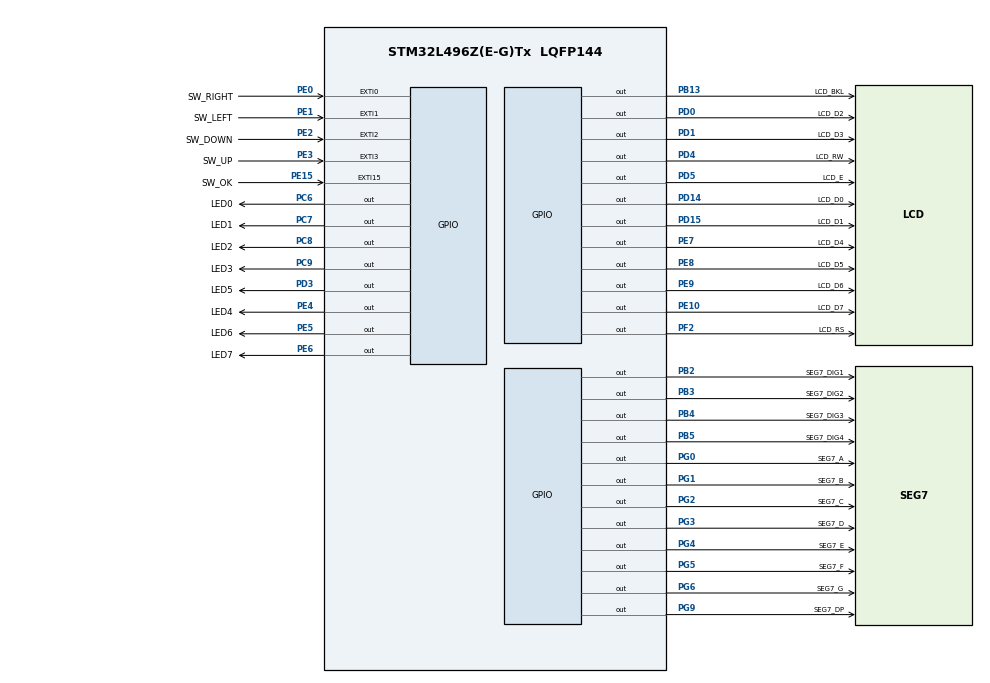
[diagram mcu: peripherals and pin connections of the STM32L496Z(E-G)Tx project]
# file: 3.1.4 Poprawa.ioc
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Mcu.Family=STM32L4
Mcu.Name=STM32L496Z(E-G)Tx
Mcu.Package=LQFP144
NVIC.EXTI0_IRQn=true\:0\:0\:false\:false\:true\:true\:true
NVIC.EXTI15_10_IRQn=true\:0\:0\:false\:false\:true\:true\:true
NVIC.EXTI1_IRQn=true\:0\:0\:false\:false\:true\:true\:true
NVIC.EXTI2_IRQn=true\:0\:0\:false\:false\:true\:true\:true
NVIC.EXTI3_IRQn=true\:0\:0\:false\:false\:true\:true\:true
NVIC.PriorityGroup=NVIC_PRIORITYGROUP_4
PA13\ (JTMS/SWDIO).Mode=Serial_Wire
PA13\ (JTMS/SWDIO).Signal=SYS_JTMS-SWDIO
PA14\ (JTCK/SWCLK).Mode=Serial_Wire
PA14\ (JTCK/SWCLK).Signal=SYS_JTCK-SWCLK
PB13.GPIO_Label=LCD_BKL
PB13.Signal=GPIO_Output
PB2.GPIO_Label=SEG7_DIG1
PB2.Signal=GPIO_Output
PB3\ (JTDO/TRACESWO).GPIO_Label=SEG7_DIG2
PB3\ (JTDO/TRACESWO).Signal=GPIO_Output
PB4\ (NJTRST).GPIO_Label=SEG7_DIG3
PB4\ (NJTRST).Signal=GPIO_Output
PB5.GPIO_Label=SEG7_DIG4
PB5.Signal=GPIO_Output
PC6.GPIO_Label=LED0
PC6.Signal=GPIO_Output
PC7.GPIO_Label=LED1
PC7.Signal=GPIO_Output
PC8.GPIO_Label=LED2
PC8.Signal=GPIO_Output
PC9.GPIO_Label=LED3
PC9.Signal=GPIO_Output
PD0.GPIO_Label=LCD_D2
PD0.Signal=GPIO_Output
PD1.GPIO_Label=LCD_D3
PD1.Signal=GPIO_Output
PD14.GPIO_Label=LCD_D0
PD14.Signal=GPIO_Output
PD15.GPIO_Label=LCD_D1
PD15.Signal=GPIO_Output
PD3.GPIO_Label=LED5
PD3.Signal=GPIO_Output
PD4.GPIO_Label=LCD_RW
PD4.Signal=GPIO_Output
PD5.GPIO_Label=LCD_E
PD5.Signal=GPIO_Output
PE0.GPIO_Label=SW_RIGHT
PE0.GPIO_ModeDefaultEXTI=GPIO_MODE_IT_FALLING
PE0.Signal=GPXTI0
PE1.GPIO_Label=SW_LEFT
PE1.GPIO_ModeDefaultEXTI=GPIO_MODE_IT_FALLING
PE1.Signal=GPXTI1
PE10.GPIO_Label=LCD_D7
PE10.Signal=GPIO_Output
PE15.GPIO_Label=SW_OK
PE15.GPIO_ModeDefaultEXTI=GPIO_MODE_IT_FALLING
PE15.Signal=GPXTI15
PE2.GPIO_Label=SW_DOWN
PE2.GPIO_ModeDefaultEXTI=GPIO_MODE_IT_FALLING
PE2.Signal=GPXTI2
PE3.GPIO_Label=SW_UP
PE3.GPIO_ModeDefaultEXTI=GPIO_MODE_IT_FALLING
PE3.Signal=GPXTI3
PE4.GPIO_Label=LED4
PE4.Signal=GPIO_Output
PE5.GPIO_Label=LED6
PE5.Signal=GPIO_Output
PE6.GPIO_Label=LED7
PE6.Signal=GPIO_Output
PE7.GPIO_Label=LCD_D4
PE7.Signal=GPIO_Output
PE8.GPIO_Label=LCD_D5
PE8.Signal=GPIO_Output
PE9.GPIO_Label=LCD_D6
PE9.Signal=GPIO_Output
PF2.GPIO_Label=LCD_RS
PF2.Signal=GPIO_Output
PG0.GPIO_Label=SEG7_A
PG0.Signal=GPIO_Output
PG1.GPIO_Label=SEG7_B
PG1.Signal=GPIO_Output
PG2.GPIO_Label=SEG7_C
PG2.Signal=GPIO_Output
PG3.GPIO_Label=SEG7_D
PG3.Signal=GPIO_Output
PG4.GPIO_Label=SEG7_E
PG4.Signal=GPIO_Output
PG5.GPIO_Label=SEG7_F
PG5.Signal=GPIO_Output
PG6.GPIO_Label=SEG7_G
PG6.Signal=GPIO_Output
PG9.GPIO_Label=SEG7_DP
PG9.Signal=GPIO_Output
ProjectManager.HeapSize=0x200
ProjectManager.StackSize=0x400
ProjectManager.TargetToolchain=STM32CubeIDE
RCC.HSE_VALUE=8000000
RCC.HSI48_VALUE=48000000
RCC.HSI_VALUE=16000000
RCC.LSE_VALUE=32768
RCC.MSI_VALUE=4000000
RCC.VCOOutputFreq_Value=32000000
board=custom

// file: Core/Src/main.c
/* USER CODE BEGIN Header */
/**
 ******************************************************************************
 * @file           : main.c
 * @brief          : Main program body
 ******************************************************************************
 * @attention
 *
 * <h2><center>&copy; Copyright (c) 2021 STMicroelectronics.
 * All rights reserved.</center></h2>
 *
 * This software component is licensed by ST under BSD 3-Clause license,
 * the "License"; You may not use this file except in compliance with the
 * License. You may obtain a copy of the License at:
 *                        opensource.org/licenses/BSD-3-Clause
 *
 ******************************************************************************
 */
/* USER CODE END Header */
#include "main.h"
#include "gpio.h"

/* USER CODE BEGIN Includes */
#include "lcd.h"
#include <stdio.h>
#include <string.h>
/* USER CODE END Includes */

/* USER CODE BEGIN PD */
#define SEG7_Msk       (SEG7_A_Pin|SEG7_B_Pin|SEG7_C_Pin|SEG7_D_Pin|SEG7_E_Pin|SEG7_F_Pin|SEG7_G_Pin|SEG7_DP_Pin)

#define SEG7_MOD_Msk   (SEG7_DIG4_Pin|SEG7_DIG3_Pin|SEG7_DIG2_Pin|SEG7_DIG1_Pin)

/* USER CODE END PD */

/* USER CODE BEGIN PV */
const uint8_t SEG_Bin2Dec[]=
{
		SEG7_A_Pin |SEG7_B_Pin |SEG7_C_Pin |SEG7_D_Pin |SEG7_E_Pin |SEG7_F_Pin,
		SEG7_B_Pin |SEG7_C_Pin , //1
		SEG7_A_Pin |SEG7_B_Pin |SEG7_D_Pin |SEG7_E_Pin |SEG7_G_Pin, //2
		SEG7_A_Pin |SEG7_B_Pin |SEG7_C_Pin |SEG7_D_Pin |SEG7_G_Pin,  //3
		SEG7_B_Pin |SEG7_C_Pin |SEG7_F_Pin |SEG7_G_Pin , //4
		SEG7_A_Pin |SEG7_C_Pin |SEG7_D_Pin |SEG7_F_Pin |SEG7_G_Pin ,//5
		SEG7_A_Pin |SEG7_C_Pin |SEG7_D_Pin |SEG7_E_Pin |SEG7_F_Pin |SEG7_G_Pin, //6
		SEG7_A_Pin |SEG7_B_Pin |SEG7_C_Pin, //7
		SEG7_A_Pin |SEG7_B_Pin |SEG7_C_Pin |SEG7_D_Pin |SEG7_E_Pin |SEG7_F_Pin |SEG7_G_Pin , //8
		SEG7_A_Pin |SEG7_B_Pin |SEG7_C_Pin |SEG7_D_Pin |SEG7_F_Pin |SEG7_G_Pin ,//9
		SEG7_A_Pin |SEG7_B_Pin |SEG7_C_Pin | SEG7_E_Pin |SEG7_F_Pin |SEG7_G_Pin ,//A
		SEG7_A_Pin |SEG7_B_Pin |SEG7_C_Pin |SEG7_D_Pin |SEG7_E_Pin |SEG7_F_Pin |SEG7_G_Pin , //B
		SEG7_A_Pin |SEG7_D_Pin |SEG7_E_Pin |SEG7_F_Pin  , //C
		SEG7_A_Pin |SEG7_B_Pin |SEG7_C_Pin |SEG7_D_Pin |SEG7_E_Pin |SEG7_F_Pin ,//D
		SEG7_A_Pin |SEG7_D_Pin |SEG7_E_Pin |SEG7_F_Pin |SEG7_G_Pin , //E
		SEG7_A_Pin |SEG7_E_Pin |SEG7_F_Pin |SEG7_G_Pin , //F

};

const uint16_t SEG_Module[]= {SEG7_DIG4_Pin, SEG7_DIG3_Pin, SEG7_DIG2_Pin, SEG7_DIG1_Pin};
/* USER CODE END PV */

void SystemClock_Config(void);

/* USER CODE BEGIN 0 */
void SEG_SetSegment (uint8_t value){
	value &= 0x0F;
	HAL_GPIO_WritePin(GPIOG, SEG7_Msk, GPIO_PIN_RESET);
	HAL_GPIO_WritePin(GPIOG, SEG_Bin2Dec[value], GPIO_PIN_SET);

}

void SEG_SetModule(uint8_t module){
	module &= 0x03;
	HAL_GPIO_WritePin(GPIOB, SEG7_MOD_Msk, GPIO_PIN_RESET);
	HAL_GPIO_WritePin(GPIOB, SEG_Module[module], GPIO_PIN_SET);
}

#define SEG_RefreshPeriodMs (5)

uint8_t SEG_Value[]={0,0,0,0};

 void SEG_Mux(void){
	static uint32_t module=0;
	if(SEG_Value[3] == 0 && SEG_Value[2] == 0 && SEG_Value[1] == 0)
			module = 0;
	else if (SEG_Value[3] == 0 && SEG_Value[2] == 0)
		module %= 2;
	else if (SEG_Value[3] == 0)
			module %= 3;

	SEG_SetSegment(SEG_Value[module]);
		SEG_SetModule(module++);

		module&=0x03;
}

void HAL_SYSTICK_Callback(void){
	static uint16_t SEG_Delay = 0;
	if((++SEG_Delay) == SEG_RefreshPeriodMs){
		SEG_Mux();
		SEG_Delay=0;
	}
}

void SEG_DisplayDec(uint16_t value){
	if((value >=0)&&(value<10000)){
		SEG_Value[0]=(value % 16);
		value /=16;
		SEG_Value[1]= value ? (value % 16) : 0;
		value /= 16;
		SEG_Value[2]= value ? (value % 16) : 0;
		value /= 16;
		SEG_Value[3]= value ? (value % 16) : 0;
		value /= 16;
	}
}
/* USER CODE END 0 */

int main(void)
{

  /* MCU Configuration--------------------------------------------------------*/

  /* Reset of all peripherals, Initializes the Flash interface and the Systick. */
  HAL_Init();

  /* Configure the system clock */
  SystemClock_Config();

  /* Initialize all configured peripherals */
  MX_GPIO_Init();
  /* USER CODE BEGIN 2 */
  LCD_Init();
  LCD_BacklightOn();

  /* USER CODE END 2 */

  /* Infinite loop */
  /* USER CODE BEGIN WHILE */
 // LCD_Init();
 // LCD_BacklightOn();
 // LCD_WriteText((uint8_t*)"Hello");

	while (1) {

		SEG_SetModule(0);
		for(int i=0; i<10000; i++)
		{
			SEG_DisplayDec(i);
			HAL_Delay(20);
		}

	}

    /* USER CODE END WHILE */

}

void SystemClock_Config(void)
{
  RCC_OscInitTypeDef RCC_OscInitStruct = {0};
  RCC_ClkInitTypeDef RCC_ClkInitStruct = {0};

  /** Configure the main internal regulator output voltage
  */
  if (HAL_PWREx_ControlVoltageScaling(PWR_REGULATOR_VOLTAGE_SCALE1) != HAL_OK)
  {
    Error_Handler();
  }
  /** Initializes the RCC Oscillators according to the specified parameters
  * in the RCC_OscInitTypeDef structure.
  */
  RCC_OscInitStruct.OscillatorType = RCC_OSCILLATORTYPE_MSI;
  RCC_OscInitStruct.MSIState = RCC_MSI_ON;
  RCC_OscInitStruct.MSICalibrationValue = 0;
  RCC_OscInitStruct.MSIClockRange = RCC_MSIRANGE_6;
  RCC_OscInitStruct.PLL.PLLState = RCC_PLL_NONE;
  if (HAL_RCC_OscConfig(&RCC_OscInitStruct) != HAL_OK)
  {
    Error_Handler();
  }
  /** Initializes the CPU, AHB and APB buses clocks
  */
  RCC_ClkInitStruct.ClockType = RCC_CLOCKTYPE_HCLK|RCC_CLOCKTYPE_SYSCLK
                              |RCC_CLOCKTYPE_PCLK1|RCC_CLOCKTYPE_PCLK2;
  RCC_ClkInitStruct.SYSCLKSource = RCC_SYSCLKSOURCE_MSI;
  RCC_ClkInitStruct.AHBCLKDivider = RCC_SYSCLK_DIV1;
  RCC_ClkInitStruct.APB1CLKDivider = RCC_HCLK_DIV1;
  RCC_ClkInitStruct.APB2CLKDivider = RCC_HCLK_DIV1;

  if (HAL_RCC_ClockConfig(&RCC_ClkInitStruct, FLASH_LATENCY_0) != HAL_OK)
  {
    Error_Handler();
  }
}

void Error_Handler(void)
{
	__disable_irq();
	while (1) {
	}
}

/************************ (C) COPYRIGHT STMicroelectronics *****END OF FILE****/
